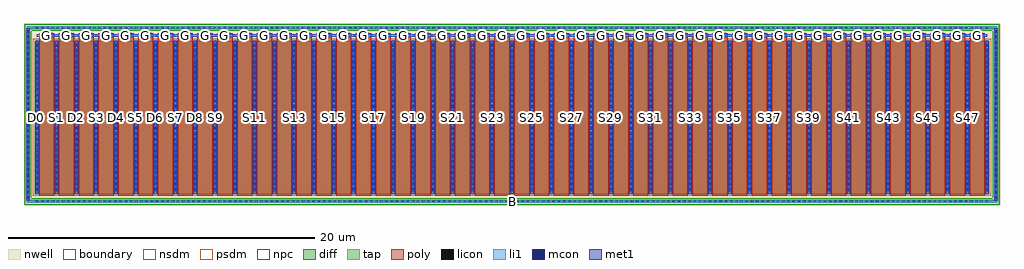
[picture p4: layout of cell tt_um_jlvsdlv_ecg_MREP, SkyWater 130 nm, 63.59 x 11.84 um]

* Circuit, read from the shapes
.subckt tt_um_jlvsdlv_ecg_MREP B D0 D10 D12 D14 D16 D18 D2 D20 D22 D24 D26 D28 D30 D32 D34 D36 D38 D4 D40 D42 D44 D46 D6 D8 G S1 S11 S13 S15 S17 S19 S21 S23 S25 S27 S29 S3 S31 S33 S35 S37 S39 S41 S43 S45 S47 S5 S7 S9
XM1 S1 G D0 B sky130_fd_pr__pfet_01v8 w=10 l=1
XM2 D2 G S1 B sky130_fd_pr__pfet_01v8 w=10 l=1
XM3 S3 G D2 B sky130_fd_pr__pfet_01v8 w=10 l=1
XM4 D4 G S3 B sky130_fd_pr__pfet_01v8 w=10 l=1
XM5 S5 G D4 B sky130_fd_pr__pfet_01v8 w=10 l=1
XM6 D6 G S5 B sky130_fd_pr__pfet_01v8 w=10 l=1
XM7 S7 G D6 B sky130_fd_pr__pfet_01v8 w=10 l=1
XM8 D8 G S7 B sky130_fd_pr__pfet_01v8 w=10 l=1
XM9 S9 G D8 B sky130_fd_pr__pfet_01v8 w=10 l=1
XM10 D10 G S9 B sky130_fd_pr__pfet_01v8 w=10 l=1
XM11 S11 G D10 B sky130_fd_pr__pfet_01v8 w=10 l=1
XM12 D12 G S11 B sky130_fd_pr__pfet_01v8 w=10 l=1
XM13 S13 G D12 B sky130_fd_pr__pfet_01v8 w=10 l=1
XM14 D14 G S13 B sky130_fd_pr__pfet_01v8 w=10 l=1
XM15 S15 G D14 B sky130_fd_pr__pfet_01v8 w=10 l=1
XM16 D16 G S15 B sky130_fd_pr__pfet_01v8 w=10 l=1
XM17 S17 G D16 B sky130_fd_pr__pfet_01v8 w=10 l=1
XM18 D18 G S17 B sky130_fd_pr__pfet_01v8 w=10 l=1
XM19 S19 G D18 B sky130_fd_pr__pfet_01v8 w=10 l=1
XM20 D20 G S19 B sky130_fd_pr__pfet_01v8 w=10 l=1
XM21 S21 G D20 B sky130_fd_pr__pfet_01v8 w=10 l=1
XM22 D22 G S21 B sky130_fd_pr__pfet_01v8 w=10 l=1
XM23 S23 G D22 B sky130_fd_pr__pfet_01v8 w=10 l=1
XM24 D24 G S23 B sky130_fd_pr__pfet_01v8 w=10 l=1
XM25 S25 G D24 B sky130_fd_pr__pfet_01v8 w=10 l=1
XM26 D26 G S25 B sky130_fd_pr__pfet_01v8 w=10 l=1
XM27 S27 G D26 B sky130_fd_pr__pfet_01v8 w=10 l=1
XM28 D28 G S27 B sky130_fd_pr__pfet_01v8 w=10 l=1
XM29 S29 G D28 B sky130_fd_pr__pfet_01v8 w=10 l=1
XM30 D30 G S29 B sky130_fd_pr__pfet_01v8 w=10 l=1
XM31 S31 G D30 B sky130_fd_pr__pfet_01v8 w=10 l=1
XM32 D32 G S31 B sky130_fd_pr__pfet_01v8 w=10 l=1
XM33 S33 G D32 B sky130_fd_pr__pfet_01v8 w=10 l=1
XM34 D34 G S33 B sky130_fd_pr__pfet_01v8 w=10 l=1
XM35 S35 G D34 B sky130_fd_pr__pfet_01v8 w=10 l=1
XM36 D36 G S35 B sky130_fd_pr__pfet_01v8 w=10 l=1
XM37 S37 G D36 B sky130_fd_pr__pfet_01v8 w=10 l=1
XM38 D38 G S37 B sky130_fd_pr__pfet_01v8 w=10 l=1
XM39 S39 G D38 B sky130_fd_pr__pfet_01v8 w=10 l=1
XM40 D40 G S39 B sky130_fd_pr__pfet_01v8 w=10 l=1
XM41 S41 G D40 B sky130_fd_pr__pfet_01v8 w=10 l=1
XM42 D42 G S41 B sky130_fd_pr__pfet_01v8 w=10 l=1
XM43 S43 G D42 B sky130_fd_pr__pfet_01v8 w=10 l=1
XM44 D44 G S43 B sky130_fd_pr__pfet_01v8 w=10 l=1
XM45 S45 G D44 B sky130_fd_pr__pfet_01v8 w=10 l=1
XM46 D46 G S45 B sky130_fd_pr__pfet_01v8 w=10 l=1
XM47 S47 G D46 B sky130_fd_pr__pfet_01v8 w=10 l=1
XM48 n1 G S47 B sky130_fd_pr__pfet_01v8 w=10 l=1
.ends

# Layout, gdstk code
import gdstk
lib = gdstk.Library(unit=1e-6, precision=1e-09)
def R(c, l, rs):  # rectangles x0, y0, x1, y1
    for r in rs: c.add(gdstk.rectangle(r[:2], r[2:], *l))
def A(c, l, x, y, w, h, nx, ny, dx, dy):  # array of equal rectangles
    R(c, l, [(x+i*dx, y+j*dy, x+i*dx+w, y+j*dy+h) for i in range(nx) for j in range(ny)])
nwell = (64, 20)
diff = (65, 20)
tap = (65, 44)
poly = (66, 20)
licon = (66, 44)
li1 = (67, 20)
mcon = (67, 44)
met1 = (68, 20)
nsdm = (93, 44)
psdm = (94, 20)
npc = (95, 20)
boundary = (235, 4)

tt_um_jlvsdlv_ecg_mrep = lib.new_cell('tt_um_jlvsdlv_ecg_MREP')
R(tt_um_jlvsdlv_ecg_mrep, nwell, [(-31.795,-5.92,31.795,5.92)])
R(tt_um_jlvsdlv_ecg_mrep, diff, [(-31.105,-5.18,31.105,4.82)])
R(tt_um_jlvsdlv_ecg_mrep, tap, [(-31.615,-5.74,31.615,-5.57), (-31.615,-5.57,-31.445,5.57), (31.445,-5.57,31.615,5.57), (-31.615,5.57,31.615,5.74)])
A(tt_um_jlvsdlv_ecg_mrep, poly, -30.815, -5.31, 1, 10.615, 48, 1, 1.29, 0)
A(tt_um_jlvsdlv_ecg_mrep, licon, -31.025, -5.74, 0.17, 0.17, 183, 2, 0.34, 11.31)
A(tt_um_jlvsdlv_ecg_mrep, licon, -31.615, -5.185, 0.17, 0.17, 1, 31, 0, 0.34)
A(tt_um_jlvsdlv_ecg_mrep, licon, 31.445, -5.185, 0.17, 0.17, 1, 31, 0, 0.34)
A(tt_um_jlvsdlv_ecg_mrep, licon, -31.045, -5.025, 0.17, 0.17, 49, 29, 1.29, 0.34)
R(tt_um_jlvsdlv_ecg_mrep, licon, [(-30.57,5.055,-30.4,5.225), (-30.23,5.055,-30.06,5.225), (-29.28,5.055,-29.11,5.225), (-28.94,5.055,-28.77,5.225), (-27.99,5.055,-27.82,5.225), (-27.65,5.055,-27.48,5.225), (-26.7,5.055,-26.53,5.225), (-26.36,5.055,-26.19,5.225), (-25.41,5.055,-25.24,5.225), (-25.07,5.055,-24.9,5.225), (-24.12,5.055,-23.95,5.225), (-23.78,5.055,-23.61,5.225), (-22.83,5.055,-22.66,5.225), (-22.49,5.055,-22.32,5.225), (-21.54,5.055,-21.37,5.225), (-21.2,5.055,-21.03,5.225), (-20.25,5.055,-20.08,5.225), (-19.91,5.055,-19.74,5.225), (-18.96,5.055,-18.79,5.225), (-18.62,5.055,-18.45,5.225), (-17.67,5.055,-17.5,5.225), (-17.33,5.055,-17.16,5.225), (-16.38,5.055,-16.21,5.225), (-16.04,5.055,-15.87,5.225), (-15.09,5.055,-14.92,5.225), (-14.75,5.055,-14.58,5.225), (-13.8,5.055,-13.63,5.225), (-13.46,5.055,-13.29,5.225), (-12.51,5.055,-12.34,5.225), (-12.17,5.055,-12,5.225), (-11.22,5.055,-11.05,5.225), (-10.88,5.055,-10.71,5.225), (-9.93,5.055,-9.76,5.225), (-9.59,5.055,-9.42,5.225), (-8.64,5.055,-8.47,5.225), (-8.3,5.055,-8.13,5.225), (-7.35,5.055,-7.18,5.225), (-7.01,5.055,-6.84,5.225), (-6.06,5.055,-5.89,5.225), (-5.72,5.055,-5.55,5.225), (-4.77,5.055,-4.6,5.225), (-4.43,5.055,-4.26,5.225), (-3.48,5.055,-3.31,5.225), (-3.14,5.055,-2.97,5.225), (-2.19,5.055,-2.02,5.225), (-1.85,5.055,-1.68,5.225), (-0.9,5.055,-0.73,5.225), (-0.56,5.055,-0.39,5.225), (0.39,5.055,0.56,5.225), (0.73,5.055,0.9,5.225), (1.68,5.055,1.85,5.225), (2.02,5.055,2.19,5.225), (2.97,5.055,3.14,5.225), (3.31,5.055,3.48,5.225), (4.26,5.055,4.43,5.225), (4.6,5.055,4.77,5.225), (5.55,5.055,5.72,5.225), (5.89,5.055,6.06,5.225), (6.84,5.055,7.01,5.225), (7.18,5.055,7.35,5.225), (8.13,5.055,8.3,5.225), (8.47,5.055,8.64,5.225), (9.42,5.055,9.59,5.225), (9.76,5.055,9.93,5.225), (10.71,5.055,10.88,5.225), (11.05,5.055,11.22,5.225), (12,5.055,12.17,5.225), (12.34,5.055,12.51,5.225), (13.29,5.055,13.46,5.225), (13.63,5.055,13.8,5.225), (14.58,5.055,14.75,5.225), (14.92,5.055,15.09,5.225), (15.87,5.055,16.04,5.225), (16.21,5.055,16.38,5.225), (17.16,5.055,17.33,5.225), (17.5,5.055,17.67,5.225), (18.45,5.055,18.62,5.225), (18.79,5.055,18.96,5.225), (19.74,5.055,19.91,5.225), (20.08,5.055,20.25,5.225), (21.03,5.055,21.2,5.225), (21.37,5.055,21.54,5.225), (22.32,5.055,22.49,5.225), (22.66,5.055,22.83,5.225), (23.61,5.055,23.78,5.225), (23.95,5.055,24.12,5.225), (24.9,5.055,25.07,5.225), (25.24,5.055,25.41,5.225), (26.19,5.055,26.36,5.225), (26.53,5.055,26.7,5.225), (27.48,5.055,27.65,5.225), (27.82,5.055,27.99,5.225), (28.77,5.055,28.94,5.225), (29.11,5.055,29.28,5.225), (30.06,5.055,30.23,5.225), (30.4,5.055,30.57,5.225)])
A(tt_um_jlvsdlv_ecg_mrep, li1, -31.045, -5.2, 0.17, 10.04, 49, 1, 1.29, 0)
R(tt_um_jlvsdlv_ecg_mrep, li1, [(-31.615,-5.74,31.615,-5.57), (-31.615,-5.57,-31.445,5.57), (31.445,-5.57,31.615,5.57), (-30.96,5.055,30.96,5.225), (-31.615,5.57,31.615,5.74)])
A(tt_um_jlvsdlv_ecg_mrep, mcon, -31.615, -5.485, 0.17, 0.17, 1, 31, 0, 0.36)
A(tt_um_jlvsdlv_ecg_mrep, mcon, 31.445, -5.485, 0.17, 0.17, 1, 31, 0, 0.36)
A(tt_um_jlvsdlv_ecg_mrep, mcon, -31.045, -4.945, 0.17, 0.17, 49, 27, 1.29, 0.36)
R(tt_um_jlvsdlv_ecg_mrep, mcon, [(-30.58,5.055,-30.41,5.225), (-30.22,5.055,-30.05,5.225), (-29.29,5.055,-29.12,5.225), (-28.93,5.055,-28.76,5.225), (-28,5.055,-27.83,5.225), (-27.64,5.055,-27.47,5.225), (-26.71,5.055,-26.54,5.225), (-26.35,5.055,-26.18,5.225), (-25.42,5.055,-25.25,5.225), (-25.06,5.055,-24.89,5.225), (-24.13,5.055,-23.96,5.225), (-23.77,5.055,-23.6,5.225), (-22.84,5.055,-22.67,5.225), (-22.48,5.055,-22.31,5.225), (-21.55,5.055,-21.38,5.225), (-21.19,5.055,-21.02,5.225), (-20.26,5.055,-20.09,5.225), (-19.9,5.055,-19.73,5.225), (-18.97,5.055,-18.8,5.225), (-18.61,5.055,-18.44,5.225), (-17.68,5.055,-17.51,5.225), (-17.32,5.055,-17.15,5.225), (-16.39,5.055,-16.22,5.225), (-16.03,5.055,-15.86,5.225), (-15.1,5.055,-14.93,5.225), (-14.74,5.055,-14.57,5.225), (-13.81,5.055,-13.64,5.225), (-13.45,5.055,-13.28,5.225), (-12.52,5.055,-12.35,5.225), (-12.16,5.055,-11.99,5.225), (-11.23,5.055,-11.06,5.225), (-10.87,5.055,-10.7,5.225), (-9.94,5.055,-9.77,5.225), (-9.58,5.055,-9.41,5.225), (-8.65,5.055,-8.48,5.225), (-8.29,5.055,-8.12,5.225), (-7.36,5.055,-7.19,5.225), (-7,5.055,-6.83,5.225), (-6.07,5.055,-5.9,5.225), (-5.71,5.055,-5.54,5.225), (-4.78,5.055,-4.61,5.225), (-4.42,5.055,-4.25,5.225), (-3.49,5.055,-3.32,5.225), (-3.13,5.055,-2.96,5.225), (-2.2,5.055,-2.03,5.225), (-1.84,5.055,-1.67,5.225), (-0.91,5.055,-0.74,5.225), (-0.55,5.055,-0.38,5.225), (0.38,5.055,0.55,5.225), (0.74,5.055,0.91,5.225), (1.67,5.055,1.84,5.225), (2.03,5.055,2.2,5.225), (2.96,5.055,3.13,5.225), (3.32,5.055,3.49,5.225), (4.25,5.055,4.42,5.225), (4.61,5.055,4.78,5.225), (5.54,5.055,5.71,5.225), (5.9,5.055,6.07,5.225), (6.83,5.055,7,5.225), (7.19,5.055,7.36,5.225), (8.12,5.055,8.29,5.225), (8.48,5.055,8.65,5.225), (9.41,5.055,9.58,5.225), (9.77,5.055,9.94,5.225), (10.7,5.055,10.87,5.225), (11.06,5.055,11.23,5.225), (11.99,5.055,12.16,5.225), (12.35,5.055,12.52,5.225), (13.28,5.055,13.45,5.225), (13.64,5.055,13.81,5.225), (14.57,5.055,14.74,5.225), (14.93,5.055,15.1,5.225), (15.86,5.055,16.03,5.225), (16.22,5.055,16.39,5.225), (17.15,5.055,17.32,5.225), (17.51,5.055,17.68,5.225), (18.44,5.055,18.61,5.225), (18.8,5.055,18.97,5.225), (19.73,5.055,19.9,5.225), (20.09,5.055,20.26,5.225), (21.02,5.055,21.19,5.225), (21.38,5.055,21.55,5.225), (22.31,5.055,22.48,5.225), (22.67,5.055,22.84,5.225), (23.6,5.055,23.77,5.225), (23.96,5.055,24.13,5.225), (24.89,5.055,25.06,5.225), (25.25,5.055,25.42,5.225), (26.18,5.055,26.35,5.225), (26.54,5.055,26.71,5.225), (27.47,5.055,27.64,5.225), (27.83,5.055,28,5.225), (28.76,5.055,28.93,5.225), (29.12,5.055,29.29,5.225), (30.05,5.055,30.22,5.225), (30.41,5.055,30.58,5.225)])
A(tt_um_jlvsdlv_ecg_mrep, met1, -31.075, -5.18, 0.23, 10, 49, 1, 1.29, 0)
A(tt_um_jlvsdlv_ecg_mrep, met1, -30.795, 5.025, 0.96, 0.03, 48, 2, 1.29, 0.2)
R(tt_um_jlvsdlv_ecg_mrep, met1, [(-31.645,-5.63,-31.415,5.63), (31.415,-5.63,31.645,5.63), (-30.96,5.055,30.96,5.225)])
R(tt_um_jlvsdlv_ecg_mrep, nsdm, [(-31.74,-5.865,31.74,-5.445), (-31.74,-5.445,-31.32,5.445), (31.32,-5.445,31.74,5.445), (-31.74,5.445,31.74,5.865)])
R(tt_um_jlvsdlv_ecg_mrep, psdm, [(-31.23,-5.305,31.23,4.945)])
A(tt_um_jlvsdlv_ecg_mrep, npc, -30.67, 4.955, 0.71, 0.37, 48, 1, 1.29, 0)
R(tt_um_jlvsdlv_ecg_mrep, boundary, [(-31.53,-5.655,31.53,5.655)])
tt_um_jlvsdlv_ecg_mrep.add(gdstk.Label('B', (0,-5.655), layer=67, texttype=5))
tt_um_jlvsdlv_ecg_mrep.add(gdstk.Label('D0', (-30.96,-0.18), layer=67, texttype=5))
tt_um_jlvsdlv_ecg_mrep.add(gdstk.Label('G', (30.315,5.14), layer=67, texttype=5))
tt_um_jlvsdlv_ecg_mrep.add(gdstk.Label('G', (29.025,5.14), layer=67, texttype=5))
tt_um_jlvsdlv_ecg_mrep.add(gdstk.Label('G', (27.735,5.14), layer=67, texttype=5))
tt_um_jlvsdlv_ecg_mrep.add(gdstk.Label('G', (26.445,5.14), layer=67, texttype=5))
tt_um_jlvsdlv_ecg_mrep.add(gdstk.Label('G', (25.155,5.14), layer=67, texttype=5))
tt_um_jlvsdlv_ecg_mrep.add(gdstk.Label('G', (23.865,5.14), layer=67, texttype=5))
tt_um_jlvsdlv_ecg_mrep.add(gdstk.Label('G', (22.575,5.14), layer=67, texttype=5))
tt_um_jlvsdlv_ecg_mrep.add(gdstk.Label('G', (21.285,5.14), layer=67, texttype=5))
tt_um_jlvsdlv_ecg_mrep.add(gdstk.Label('G', (19.995,5.14), layer=67, texttype=5))
tt_um_jlvsdlv_ecg_mrep.add(gdstk.Label('G', (18.705,5.14), layer=67, texttype=5))
tt_um_jlvsdlv_ecg_mrep.add(gdstk.Label('G', (17.415,5.14), layer=67, texttype=5))
tt_um_jlvsdlv_ecg_mrep.add(gdstk.Label('G', (16.125,5.14), layer=67, texttype=5))
tt_um_jlvsdlv_ecg_mrep.add(gdstk.Label('G', (14.835,5.14), layer=67, texttype=5))
tt_um_jlvsdlv_ecg_mrep.add(gdstk.Label('G', (13.545,5.14), layer=67, texttype=5))
tt_um_jlvsdlv_ecg_mrep.add(gdstk.Label('G', (12.255,5.14), layer=67, texttype=5))
tt_um_jlvsdlv_ecg_mrep.add(gdstk.Label('G', (10.965,5.14), layer=67, texttype=5))
tt_um_jlvsdlv_ecg_mrep.add(gdstk.Label('G', (9.675,5.14), layer=67, texttype=5))
tt_um_jlvsdlv_ecg_mrep.add(gdstk.Label('G', (8.385,5.14), layer=67, texttype=5))
tt_um_jlvsdlv_ecg_mrep.add(gdstk.Label('G', (7.095,5.14), layer=67, texttype=5))
tt_um_jlvsdlv_ecg_mrep.add(gdstk.Label('G', (5.805,5.14), layer=67, texttype=5))
tt_um_jlvsdlv_ecg_mrep.add(gdstk.Label('G', (4.515,5.14), layer=67, texttype=5))
tt_um_jlvsdlv_ecg_mrep.add(gdstk.Label('G', (3.225,5.14), layer=67, texttype=5))
tt_um_jlvsdlv_ecg_mrep.add(gdstk.Label('G', (1.935,5.14), layer=67, texttype=5))
tt_um_jlvsdlv_ecg_mrep.add(gdstk.Label('G', (0.645,5.14), layer=67, texttype=5))
tt_um_jlvsdlv_ecg_mrep.add(gdstk.Label('G', (-0.645,5.14), layer=67, texttype=5))
tt_um_jlvsdlv_ecg_mrep.add(gdstk.Label('G', (-1.935,5.14), layer=67, texttype=5))
tt_um_jlvsdlv_ecg_mrep.add(gdstk.Label('G', (-3.225,5.14), layer=67, texttype=5))
tt_um_jlvsdlv_ecg_mrep.add(gdstk.Label('G', (-4.515,5.14), layer=67, texttype=5))
tt_um_jlvsdlv_ecg_mrep.add(gdstk.Label('G', (-5.805,5.14), layer=67, texttype=5))
tt_um_jlvsdlv_ecg_mrep.add(gdstk.Label('G', (-7.095,5.14), layer=67, texttype=5))
tt_um_jlvsdlv_ecg_mrep.add(gdstk.Label('G', (-8.385,5.14), layer=67, texttype=5))
tt_um_jlvsdlv_ecg_mrep.add(gdstk.Label('G', (-9.675,5.14), layer=67, texttype=5))
tt_um_jlvsdlv_ecg_mrep.add(gdstk.Label('G', (-10.965,5.14), layer=67, texttype=5))
tt_um_jlvsdlv_ecg_mrep.add(gdstk.Label('G', (-12.255,5.14), layer=67, texttype=5))
tt_um_jlvsdlv_ecg_mrep.add(gdstk.Label('G', (-13.545,5.14), layer=67, texttype=5))
tt_um_jlvsdlv_ecg_mrep.add(gdstk.Label('G', (-14.835,5.14), layer=67, texttype=5))
tt_um_jlvsdlv_ecg_mrep.add(gdstk.Label('G', (-16.125,5.14), layer=67, texttype=5))
tt_um_jlvsdlv_ecg_mrep.add(gdstk.Label('G', (-17.415,5.14), layer=67, texttype=5))
tt_um_jlvsdlv_ecg_mrep.add(gdstk.Label('G', (-18.705,5.14), layer=67, texttype=5))
tt_um_jlvsdlv_ecg_mrep.add(gdstk.Label('G', (-19.995,5.14), layer=67, texttype=5))
tt_um_jlvsdlv_ecg_mrep.add(gdstk.Label('G', (-21.285,5.14), layer=67, texttype=5))
tt_um_jlvsdlv_ecg_mrep.add(gdstk.Label('G', (-22.575,5.14), layer=67, texttype=5))
tt_um_jlvsdlv_ecg_mrep.add(gdstk.Label('G', (-23.865,5.14), layer=67, texttype=5))
tt_um_jlvsdlv_ecg_mrep.add(gdstk.Label('G', (-25.155,5.14), layer=67, texttype=5))
tt_um_jlvsdlv_ecg_mrep.add(gdstk.Label('G', (-26.445,5.14), layer=67, texttype=5))
tt_um_jlvsdlv_ecg_mrep.add(gdstk.Label('G', (-27.735,5.14), layer=67, texttype=5))
tt_um_jlvsdlv_ecg_mrep.add(gdstk.Label('G', (-29.025,5.14), layer=67, texttype=5))
tt_um_jlvsdlv_ecg_mrep.add(gdstk.Label('G', (-30.315,5.14), layer=67, texttype=5))
tt_um_jlvsdlv_ecg_mrep.add(gdstk.Label('S1', (-29.67,-0.18), layer=67, texttype=5))
tt_um_jlvsdlv_ecg_mrep.add(gdstk.Label('D2', (-28.38,-0.18), layer=67, texttype=5))
tt_um_jlvsdlv_ecg_mrep.add(gdstk.Label('S3', (-27.09,-0.18), layer=67, texttype=5))
tt_um_jlvsdlv_ecg_mrep.add(gdstk.Label('D4', (-25.8,-0.18), layer=67, texttype=5))
tt_um_jlvsdlv_ecg_mrep.add(gdstk.Label('S5', (-24.51,-0.18), layer=67, texttype=5))
tt_um_jlvsdlv_ecg_mrep.add(gdstk.Label('D6', (-23.22,-0.18), layer=67, texttype=5))
tt_um_jlvsdlv_ecg_mrep.add(gdstk.Label('S7', (-21.93,-0.18), layer=67, texttype=5))
tt_um_jlvsdlv_ecg_mrep.add(gdstk.Label('D8', (-20.64,-0.18), layer=67, texttype=5))
tt_um_jlvsdlv_ecg_mrep.add(gdstk.Label('S9', (-19.35,-0.18), layer=67, texttype=5))
tt_um_jlvsdlv_ecg_mrep.add(gdstk.Label('D10', (-18.06,-0.18), layer=67, texttype=5))
tt_um_jlvsdlv_ecg_mrep.add(gdstk.Label('S11', (-16.77,-0.18), layer=67, texttype=5))
tt_um_jlvsdlv_ecg_mrep.add(gdstk.Label('D12', (-15.48,-0.18), layer=67, texttype=5))
tt_um_jlvsdlv_ecg_mrep.add(gdstk.Label('S13', (-14.19,-0.18), layer=67, texttype=5))
tt_um_jlvsdlv_ecg_mrep.add(gdstk.Label('D14', (-12.9,-0.18), layer=67, texttype=5))
tt_um_jlvsdlv_ecg_mrep.add(gdstk.Label('S15', (-11.61,-0.18), layer=67, texttype=5))
tt_um_jlvsdlv_ecg_mrep.add(gdstk.Label('D16', (-10.32,-0.18), layer=67, texttype=5))
tt_um_jlvsdlv_ecg_mrep.add(gdstk.Label('S17', (-9.03,-0.18), layer=67, texttype=5))
tt_um_jlvsdlv_ecg_mrep.add(gdstk.Label('D18', (-7.74,-0.18), layer=67, texttype=5))
tt_um_jlvsdlv_ecg_mrep.add(gdstk.Label('S19', (-6.45,-0.18), layer=67, texttype=5))
tt_um_jlvsdlv_ecg_mrep.add(gdstk.Label('D20', (-5.16,-0.18), layer=67, texttype=5))
tt_um_jlvsdlv_ecg_mrep.add(gdstk.Label('S21', (-3.87,-0.18), layer=67, texttype=5))
tt_um_jlvsdlv_ecg_mrep.add(gdstk.Label('D22', (-2.58,-0.18), layer=67, texttype=5))
tt_um_jlvsdlv_ecg_mrep.add(gdstk.Label('S23', (-1.29,-0.18), layer=67, texttype=5))
tt_um_jlvsdlv_ecg_mrep.add(gdstk.Label('D24', (0,-0.18), layer=67, texttype=5))
tt_um_jlvsdlv_ecg_mrep.add(gdstk.Label('S25', (1.29,-0.18), layer=67, texttype=5))
tt_um_jlvsdlv_ecg_mrep.add(gdstk.Label('D26', (2.58,-0.18), layer=67, texttype=5))
tt_um_jlvsdlv_ecg_mrep.add(gdstk.Label('S27', (3.87,-0.18), layer=67, texttype=5))
tt_um_jlvsdlv_ecg_mrep.add(gdstk.Label('D28', (5.16,-0.18), layer=67, texttype=5))
tt_um_jlvsdlv_ecg_mrep.add(gdstk.Label('S29', (6.45,-0.18), layer=67, texttype=5))
tt_um_jlvsdlv_ecg_mrep.add(gdstk.Label('D30', (7.74,-0.18), layer=67, texttype=5))
tt_um_jlvsdlv_ecg_mrep.add(gdstk.Label('S31', (9.03,-0.18), layer=67, texttype=5))
tt_um_jlvsdlv_ecg_mrep.add(gdstk.Label('D32', (10.32,-0.18), layer=67, texttype=5))
tt_um_jlvsdlv_ecg_mrep.add(gdstk.Label('S33', (11.61,-0.18), layer=67, texttype=5))
tt_um_jlvsdlv_ecg_mrep.add(gdstk.Label('D34', (12.9,-0.18), layer=67, texttype=5))
tt_um_jlvsdlv_ecg_mrep.add(gdstk.Label('S35', (14.19,-0.18), layer=67, texttype=5))
tt_um_jlvsdlv_ecg_mrep.add(gdstk.Label('D36', (15.48,-0.18), layer=67, texttype=5))
tt_um_jlvsdlv_ecg_mrep.add(gdstk.Label('S37', (16.77,-0.18), layer=67, texttype=5))
tt_um_jlvsdlv_ecg_mrep.add(gdstk.Label('D38', (18.06,-0.18), layer=67, texttype=5))
tt_um_jlvsdlv_ecg_mrep.add(gdstk.Label('S39', (19.35,-0.18), layer=67, texttype=5))
tt_um_jlvsdlv_ecg_mrep.add(gdstk.Label('D40', (20.64,-0.18), layer=67, texttype=5))
tt_um_jlvsdlv_ecg_mrep.add(gdstk.Label('S41', (21.93,-0.18), layer=67, texttype=5))
tt_um_jlvsdlv_ecg_mrep.add(gdstk.Label('D42', (23.22,-0.18), layer=67, texttype=5))
tt_um_jlvsdlv_ecg_mrep.add(gdstk.Label('S43', (24.51,-0.18), layer=67, texttype=5))
tt_um_jlvsdlv_ecg_mrep.add(gdstk.Label('D44', (25.8,-0.18), layer=67, texttype=5))
tt_um_jlvsdlv_ecg_mrep.add(gdstk.Label('S45', (27.09,-0.18), layer=67, texttype=5))
tt_um_jlvsdlv_ecg_mrep.add(gdstk.Label('D46', (28.38,-0.18), layer=67, texttype=5))
tt_um_jlvsdlv_ecg_mrep.add(gdstk.Label('S47', (29.67,-0.18), layer=67, texttype=5))

lib.write_gds('tt_um_jlvsdlv_ecg_MREP.gds')
